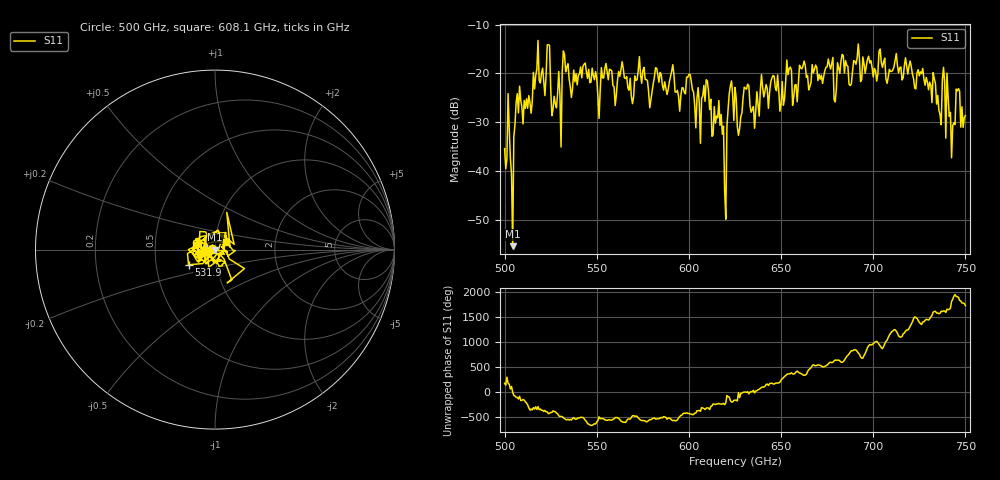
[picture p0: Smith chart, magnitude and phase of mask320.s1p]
!Created with skrf (http://scikit-rf.org).
# GHz S MA R 50.0
!freq magS11 angS11
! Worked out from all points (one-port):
!   401 points, 500 GHz to 750 GHz, reference 50 ohm
!   lowest |S11| = -55.5 dB at 504.4 GHz (marker M1), VSWR 1.00, Z = 50.2 + j0.00201 ohm
!   |S11| at or under -10 dB: start of sweep to end of sweep
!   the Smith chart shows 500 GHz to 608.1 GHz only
!   S11 on the Smith chart (normalised r, x): 500 GHz: 0.97, +0.00; 531.9 GHz: 0.73, -0.13; 608.1 GHz: 1.13, +0.09
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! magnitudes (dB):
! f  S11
! 500 GHz  -35.4
! 504.4 GHz  -55.5
! 506.9 GHz  -24.2
! 513.8 GHz  -25.9
! 516.9 GHz  -20.5
! 523.8 GHz  -14.1
! 526.9 GHz  -24.7
! 531.2 GHz  -19.7
! 531.9 GHz  -15.4
! 562.5 GHz  -20.6
! 590.6 GHz  -19.6
! 593.8 GHz  -23.5
! 608.1 GHz  -22.5
! 617.5 GHz  -28.4
! 619.4 GHz  -44.0
! 622.5 GHz  -22.6
! 625 GHz  -22.9
! 627.5 GHz  -31.4
! 631.2 GHz  -23.3
! 635 GHz  -26.8
! 656.2 GHz  -26.6
! 687.5 GHz  -22.5
! 718.8 GHz  -20.2
! 735.6 GHz  -27.6
! 738.8 GHz  -21.7
! 743.1 GHz  -30.7
! 745.6 GHz  -23.6
! 750 GHz  -28.7
